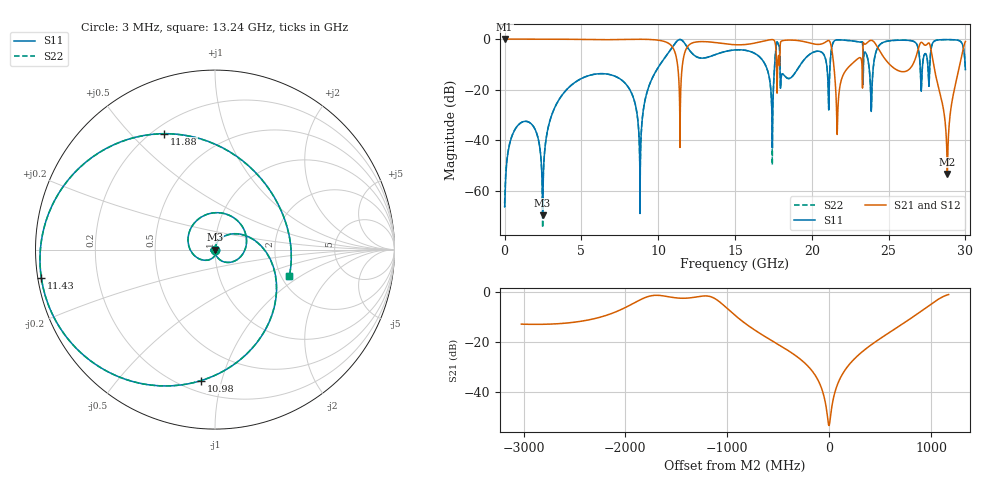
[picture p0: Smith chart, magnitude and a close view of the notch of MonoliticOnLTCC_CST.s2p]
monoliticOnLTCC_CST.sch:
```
<Qucs Schematic 25.1.0>
<Properties>
  <View=-162,-90,1828,1018,0.706414,0,1>
  <Grid=10,10,1>
  <DataSet=monoliticOnLTCC_CST.dat>
  <DataDisplay=monoliticOnLTCC_CST.dpl>
  <OpenDisplay=0>
  <Script=monoliticOnLTCC.m>
  <RunScript=0>
  <showFrame=0>
  <FrameText0=Title>
  <FrameText1=Drawn By:>
  <FrameText2=Date:>
  <FrameText3=Revision:>
</Properties>
<Symbol>
</Symbol>
<Components>
  <.SP SP1 1 210 360 0 70 0 0 "lin" 1 "1 MHz" 1 "30 GHz" 1 "3001" 1 "no" 0 "1" 0 "2" 0 "no" 0 "no" 0>
  <GND * 1 280 130 0 0 0 0>
  <Pac P1 1 190 130 18 -26 0 1 "1" 1 "50 Ohm" 1 "0 dBm" 0 "1 MHz" 0 "26.85" 0 "true" 0>
  <Pac P2 1 380 130 18 -26 0 1 "2" 1 "50 Ohm" 1 "0 dBm" 0 "1 MHz" 0 "26.85" 0 "true" 0>
  <GND * 1 190 160 0 0 0 0>
  <GND * 1 380 160 0 0 0 0>
  <Eqn Eqn1 1 420 470 -32 18 0 0 "dBS11=dB(S[1,1])" 1 "dBS12=dB(S[1,2])" 1 "phS12=phase(S[1,2])" 1 "phS11=phase(S[1,1])" 1 "yes" 0>
  <SPfile X1 1 280 90 -26 -65 0 0 "MonoliticOnLTCC_CST.s2p" 1 "rectangular" 0 "linear" 0 "open" 0 "2" 0>
</Components>
<Wires>
  <280 120 280 130 "" 0 0 0 "">
  <310 100 380 100 "" 0 0 0 "">
  <310 90 310 100 "" 0 0 0 "">
  <190 100 250 100 "" 0 0 0 "">
  <250 90 250 100 "" 0 0 0 "">
</Wires>
<Diagrams>
  <Rect 590 976 899 476 3 #c0c0c0 1 00 1 0 2e+09 3e+10 1 -215.965 100 215.918 1 -1 0.5 1 315 0 225 1 0 0 "" "" "">
	<"monoliticOnLTCC_net:phS12" #0000ff 1 3 0 0 0>
	<"phS12" #ff0000 1 3 0 0 0>
  </Rect>
  <Rect 570 396 863 446 3 #c0c0c0 1 00 1 0 2e+09 3e+10 0 -50 5 0 1 -1 0.2 1 315 0 225 1 0 0 "" "" "">
	<"dBS11" #ff00ff 0 3 0 0 0>
  </Rect>
</Diagrams>
<Paintings>
</Paintings>
```
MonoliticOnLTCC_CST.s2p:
! TOUCHSTONE file generated by CST MICROWAVE STUDIO
! Date and time: Wed Mar 19 15:52:52 2025
! Project name: monoloticOnLTCC.cst
! Parameters = {Delta_GND=2400; Delta_GND_MMIC=800; Delta_GND_Strip=1000; Delta_H=137; Delta_Linea=100; Delta_Pos1_Via=-150; Delta_Pos2_Via=200; Delta_W_Chip=150; Dist_Bordo_Via=500; Dist_Via=520; Eps_Meg=3.71; H_Ball=300; H_Chip=100; H_Sub=137; H_Sub_Meg=125; H_uFilo=150; L_GND_Strip=1800; L_Linea_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
! Header version: 2018
! Port assignment regex: !\s*Touchstone port\s*([0-9]+)\s*=\s*(CST MWS port|CST DS port)\s*([0-9]+|Zmin|Zmax)\s*\(\"(.*)\"\)(\s*mode\s*([0-9]+))?.*
! Touchstone port assignment:
! Touchstone port 1 = CST MWS port 1 ("")
! Touchstone port 2 = CST MWS port 2 ("")
! S-Parameters are not renormalized. Unphysical impedance of 50 will be written to the file.
# GHz S MA R 50
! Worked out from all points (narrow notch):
!   10003 points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, 3 MHz to 30 GHz, reference per port
!   highest |S21| = 0.00 dB at 3 MHz (marker M1); lowest = -53.4 dB at 28.83 GHz (marker M2)
!   notch at M2: 52.2 dB deep, 504 MHz wide at half that depth
!   lowest |S11| = -69.6 dB at 2.478 GHz (marker M3), VSWR 1.00
!   |S11| at or under -10 dB: start of sweep to 10.13 GHz; 16.96 GHz to 17.59 GHz (624.2 MHz wide, 3.61 % of centre); 17.93 GHz to 19.27 GHz (1.345 GHz wide, 7.23 % of centre)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
!   |S22| runs from -74.6 to -0.2 dB; largest |S21 - S12| = 0.00035
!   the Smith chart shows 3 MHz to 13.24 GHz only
!   S11 on the Smith chart (normalised r, x): 3 MHz: 1.00, +0.00; 10.98 GHz: 0.27, -0.86; 11.43 GHz: 0.01, -0.08; 11.88 GHz: 0.24, +0.62; 13.24 GHz: 2.21, -0.80
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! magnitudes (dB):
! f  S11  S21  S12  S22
! 3 MHz  -66.2  0.0  0.0  -65.0
! 2.478 GHz  -69.6  0.0  0.0  -74.6
! 8.829 GHz  -56.2  -0.1  -0.1  -56.2
! 10.98 GHz  -2.7  -3.6  -3.6  -2.7
! 11.43 GHz  -0.2  -32.3  -32.3  -0.2
! 11.88 GHz  -3.0  -3.3  -3.3  -3.0
! 13.24 GHz  -7.1  -1.1  -1.1  -7.1
! 15 GHz  -4.3  -2.2  -2.2  -4.3
! 27.58 GHz  -12.6  -1.6  -1.6  -12.6
! 28.83 GHz  -0.2  -53.4  -53.6  -0.2
! 30 GHz  -12.1  -1.0  -1.0  -12.1
